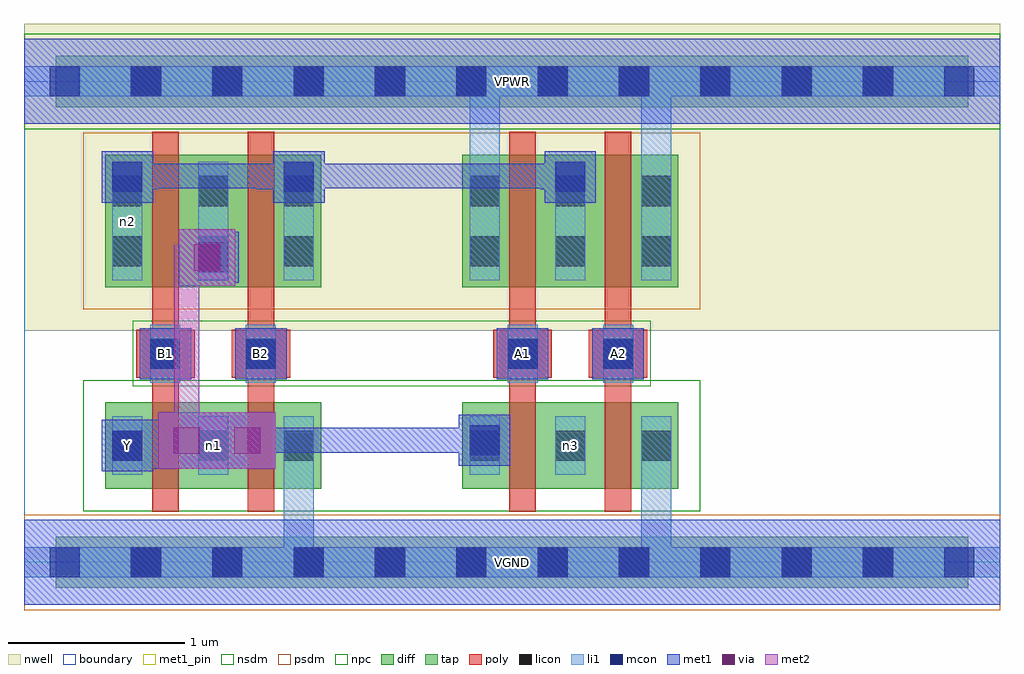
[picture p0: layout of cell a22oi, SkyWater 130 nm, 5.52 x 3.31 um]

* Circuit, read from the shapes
.subckt a22oi A1 A2 B1 B2 VGND VPWR Y n1 n2 n3
XM1 n1 B1 Y VGND sky130_fd_pr__nfet_01v8 w=0.49 l=0.15
XM2 VGND B2 n1 VGND sky130_fd_pr__nfet_01v8 w=0.49 l=0.15
XM3 n3 A1 Y VGND sky130_fd_pr__nfet_01v8 w=0.49 l=0.15
XM4 VGND A2 n3 VGND sky130_fd_pr__nfet_01v8 w=0.49 l=0.15
XM5 Y B1 n2 VPWR sky130_fd_pr__pfet_01v8 w=0.75 l=0.15
XM6 n2 B2 Y VPWR sky130_fd_pr__pfet_01v8 w=0.75 l=0.15
XM7 n2 A1 VPWR VPWR sky130_fd_pr__pfet_01v8 w=0.75 l=0.15
XM8 VPWR A2 n2 VPWR sky130_fd_pr__pfet_01v8 w=0.75 l=0.15
.ends

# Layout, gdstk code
import gdstk
lib = gdstk.Library(unit=1e-6, precision=1e-09)
def R(c, l, rs):  # rectangles x0, y0, x1, y1
    for r in rs: c.add(gdstk.rectangle(r[:2], r[2:], *l))
def A(c, l, x, y, w, h, nx, ny, dx, dy):  # array of equal rectangles
    R(c, l, [(x+i*dx, y+j*dy, x+i*dx+w, y+j*dy+h) for i in range(nx) for j in range(ny)])
nwell = (64, 20)
diff = (65, 20)
tap = (65, 44)
poly = (66, 20)
licon = (66, 44)
li1 = (67, 20)
mcon = (67, 44)
met1_pin = (68, 16)
met1 = (68, 20)
via = (68, 44)
met2 = (69, 20)
nsdm = (93, 44)
psdm = (94, 20)
npc = (95, 20)
boundary = (235, 4)

a22oi = lib.new_cell('a22oi')
R(a22oi, nwell, [(0,1.31,5.52,3.045)])
R(a22oi, diff, [(0.46,0.415,1.68,0.905), (2.48,0.415,3.7,0.905), (0.46,1.555,1.68,2.305), (2.48,1.555,3.7,2.305)])
R(a22oi, tap, [(0.18,-0.145,5.34,0.145), (0.18,2.575,5.34,2.865)])
R(a22oi, poly, [(0.725,0.285,0.875,2.435), (1.265,0.285,1.415,2.435), (2.745,0.285,2.895,2.435), (3.285,0.285,3.435,2.435), (0.635,1.045,0.965,1.315), (1.175,1.045,1.505,1.315), (2.655,1.045,2.985,1.315), (3.195,1.045,3.525,1.315)])
A(a22oi, licon, 0.605, -0.085, 0.17, 0.17, 10, 2, 0.46, 2.72)
A(a22oi, licon, 0.5, 0.575, 0.17, 0.17, 3, 2, 0.485, 1.1)
A(a22oi, licon, 2.52, 0.575, 0.17, 0.17, 3, 2, 0.485, 1.1)
A(a22oi, licon, 0.5, 2.015, 0.17, 0.17, 3, 1, 0.485, 0)
A(a22oi, licon, 2.52, 2.015, 0.17, 0.17, 3, 1, 0.485, 0)
R(a22oi, licon, [(0.715,1.095,0.885,1.265), (1.255,1.095,1.425,1.265), (2.735,1.095,2.905,1.265), (3.275,1.095,3.445,1.265)])
A(a22oi, li1, 0.5, 0.495, 0.17, 0.33, 3, 1, 0.485, 0)
A(a22oi, li1, 2.52, 0.495, 0.17, 0.33, 3, 1, 0.485, 0)
A(a22oi, li1, 0.5, 1.595, 0.17, 0.67, 3, 1, 0.485, 0)
A(a22oi, li1, 2.52, 1.595, 0.17, 0.67, 3, 1, 0.485, 0)
R(a22oi, li1, [(0,-0.085,5.52,0.085), (1.47,-0.085,1.64,0.825), (3.49,-0.085,3.66,0.825), (0.715,1.015,0.885,1.345), (1.255,1.015,1.425,1.345), (2.735,1.015,2.905,1.345), (3.275,1.015,3.445,1.345), (2.52,1.595,2.69,2.805), (3.49,1.595,3.66,2.805), (0,2.635,5.52,2.805)])
A(a22oi, mcon, 0.145, -0.085, 0.17, 0.17, 12, 2, 0.46, 2.72)
R(a22oi, mcon, [(0.5,0.575,0.67,0.745), (2.52,0.605,2.69,0.775), (0.715,1.095,0.885,1.265), (1.255,1.095,1.425,1.265), (2.735,1.095,2.905,1.265), (3.275,1.095,3.445,1.265), (0.985,1.64,1.155,1.81), (0.5,2.095,0.67,2.265), (1.47,2.095,1.64,2.265), (3.005,2.095,3.175,2.265)])
R(a22oi, met1_pin, [(0,-0.24,5.52,0.24), (0.44,0.515,0.73,0.805), (0.655,1.035,0.945,1.325), (1.195,1.035,1.485,1.325), (2.675,1.035,2.965,1.325), (3.215,1.035,3.505,1.325), (0,2.48,5.52,2.96)])
R(a22oi, met1, [(0,-0.24,5.52,0.24), (0.44,0.515,0.73,0.805), (0.73,0.53,0.76,0.805), (0.76,0.53,1.08,0.85), (1.08,0.53,1.105,0.85), (1.105,0.53,1.425,0.85), (2.46,0.545,2.75,0.835), (0.505,0.62,0.645,0.76), (0.505,0.62,0.99,0.76), (0.99,0.62,1.105,0.76), (1.08,0.62,1.195,0.76), (1.195,0.62,2.485,0.76), (2.345,0.62,2.675,0.76), (0.655,1.035,0.945,1.325), (1.195,1.035,1.485,1.325), (2.675,1.035,2.965,1.325), (3.215,1.035,3.505,1.325), (0.875,1.565,1.195,1.885), (0.925,1.58,1.215,1.87), (0.965,1.655,1.14,1.795), (0.44,2.035,0.73,2.325), (1.41,2.035,1.7,2.325), (2.945,2.035,3.235,2.325), (0.515,2.11,0.76,2.25), (0.62,2.11,0.76,2.255), (1.31,2.11,1.45,2.255), (1.31,2.11,1.625,2.25), (2.92,2.11,3.06,2.255), (2.92,2.11,3.16,2.25), (0.62,2.115,1.45,2.255), (1.31,2.115,3.06,2.255), (0,2.48,5.52,2.96)])
R(a22oi, via, [(0.845,0.615,0.995,0.765), (1.19,0.615,1.34,0.765), (0.96,1.65,1.11,1.8)])
R(a22oi, met2, [(0.76,0.53,1.08,0.85), (1.08,0.53,1.105,0.85), (1.105,0.53,1.425,0.85), (0.85,0.62,0.99,1.795), (0.85,0.62,1.335,0.76), (0.99,0.62,1.105,0.85), (0.875,1.565,1.195,1.885), (0.85,1.655,1.105,1.795)])
R(a22oi, nsdm, [(0.335,0.29,3.825,1.03), (0,2.45,5.52,2.99)])
R(a22oi, psdm, [(0,-0.27,5.52,0.27), (0.335,1.43,3.825,2.43)])
R(a22oi, npc, [(0.615,0.995,3.545,1.365)])
R(a22oi, boundary, [(0,0,5.52,2.72)])
a22oi.add(gdstk.Label('n1', (1.07,0.66), layer=67, texttype=5))
a22oi.add(gdstk.Label('n3', (3.09,0.66), layer=67, texttype=5))
a22oi.add(gdstk.Label('n2', (0.585,1.93), layer=67, texttype=5))
a22oi.add(gdstk.Label('A1', (2.82,1.18), layer=68, texttype=5))
a22oi.add(gdstk.Label('A2', (3.36,1.18), layer=68, texttype=5))
a22oi.add(gdstk.Label('B1', (0.8,1.18), layer=68, texttype=5))
a22oi.add(gdstk.Label('B2', (1.34,1.18), layer=68, texttype=5))
a22oi.add(gdstk.Label('Y', (0.585,0.66), layer=68, texttype=5))
a22oi.add(gdstk.Label('VPWR', (2.76,2.72), layer=68, texttype=5))
a22oi.add(gdstk.Label('VGND', (2.76,0), layer=68, texttype=5))
a22oi.add(gdstk.Label('A1', (2.82,1.18), layer=68, texttype=16))
a22oi.add(gdstk.Label('A2', (3.36,1.18), layer=68, texttype=16))
a22oi.add(gdstk.Label('B1', (0.8,1.18), layer=68, texttype=16))
a22oi.add(gdstk.Label('B2', (1.34,1.18), layer=68, texttype=16))
a22oi.add(gdstk.Label('Y', (0.585,0.66), layer=68, texttype=16))
a22oi.add(gdstk.Label('VPWR', (2.76,2.72), layer=68, texttype=16))
a22oi.add(gdstk.Label('VGND', (2.76,0), layer=68, texttype=16))

lib.write_gds('a22oi.gds')
